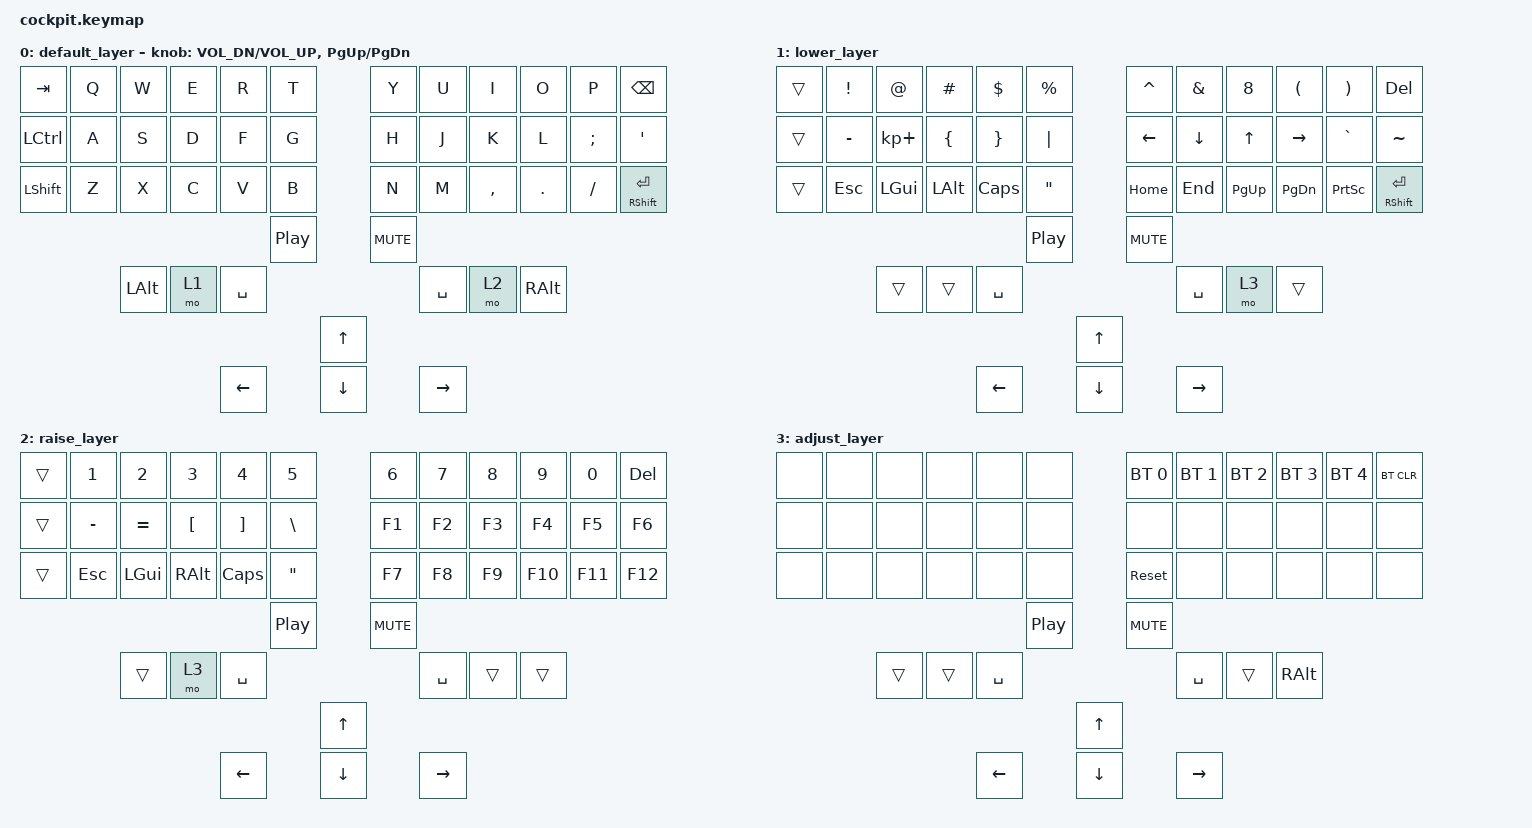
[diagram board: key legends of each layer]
#include <behaviors.dtsi>
#include <dt-bindings/zmk/keys.h>
#include <dt-bindings/zmk/bt.h>
// #include <dt-bindings/zmk/rgb.h>


&left_encoder {
    status = "okay";
};

&right_encoder {
    status = "okay";
};


/ {
        keymap {
                compatible = "zmk,keymap";

                default_layer {


// BASE
// ╭──────┬──────┬──────┬──────┬──────┬──────╮                   ╭──────┬──────┬──────┬──────┬──────┬──────╮
// │  TAB │  Q   │  W   │  E   │  R   │  T   │                   │  Y   │  U   │  I   │  O   │   P  │ BSPC │
// ├──────┼──────┼──────┼──────┼──────┼──────┤                   ├──────┼──────┼──────┼──────┼──────┼──────┤
// │ CTRL │  A   │  S   │  D   │  F   │  G   │                   │  H   │  J   │  K   │  L   │   ;  │   '  │
// ├──────┼──────┼──────┼──────┼──────┼──────┤                   ├──────┼──────┼──────┼──────┼──────┼──────┤
// │ LSFT │  Z   │  X   │    C │  V   │  B   │                   │  N   │  M   │  ,   │    . │  /   │RS-ENT│
// ╰──────┴──────┴──────┴──────┴──────┴──────┼─────────┬─────────┼──────┴──────┴──────┴──────┴──────┴──────╯
//                                           │   MPLY  │  MUTE   │
//                     ╭──────┬──────┬───────┼─────────┴─────────┼──────┬──────┬──────╮
//                     │  ALT │LOWER │  FNL  │                   │ FNR  │RAISE │ RALT │
//                     ╰──────┴──────┴───────┴─────┬──────┬──────┴──────┴──────┴──────╯
//                                                 │  UP  │
//                                          ╭──────┼──────┼──────╮
//                                          │ LEFT │ DOWN │ RIGHT│
//                                          ╰──────┴──────┴──────╯



                        bindings = <
   &kp TAB   &kp Q &kp W &kp E &kp R &kp T             &kp Y &kp U  &kp I     &kp O   &kp P    &kp BSPC
   &kp LCTRL &kp A &kp S &kp D &kp F &kp G             &kp H &kp J  &kp K     &kp L   &kp SEMI &kp SQT
   &kp LSHFT &kp Z &kp X &kp C &kp V &kp B             &kp N &kp M  &kp COMMA &kp DOT &kp FSLH &mt RSHFT RET
                                     &kp C_PLAY_PAUSE  &kp C_MUTE
                    &kp LALT  &mo 1 &kp SPACE              &kp SPACE &mo 2  &kp RALT
                                               &kp UP_ARROW
                               &kp LEFT_ARROW  &kp DOWN_ARROW  &kp RIGHT_ARROW

                        >;
                        sensor-bindings = <&inc_dec_kp C_VOL_DN C_VOL_UP &inc_dec_kp PG_UP PG_DN>;
                };

                lower_layer {

// LOWER
// ╭──────┬──────┬──────┬──────┬──────┬──────╮                   ╭──────┬──────┬──────┬──────┬──────┬──────╮
// │  TAB │      │      │      │      │      │                   │      │      │      │      │      │ BSPC │
// ├──────┼──────┼──────┼──────┼──────┼──────┤                   ├──────┼──────┼──────┼──────┼──────┼──────┤
// │ CTRL │      │      │      │      │      │                   │      │      │      │      │      │   '  │
// ├──────┼──────┼──────┼──────┼──────┼──────┤                   ├──────┼──────┼──────┼──────┼──────┼──────┤
// │  SFT │      │      │      │      │      │                   │      │      │      │      │      │ ENT  │
// ╰──────┴──────┴──────┴──────┴──────┴──────┼─────────┬─────────┼──────┴──────┴──────┴──────┴──────┴──────╯
//                                           │   MPLY  │  MUTE   │
//                     ╭──────┬──────┬───────┼─────────┴─────────┼──────┬──────┬──────╮
//                     │  ALT │LOWER │  FNL  │                   │ FNR  │RAISE │  WIN │
//                     ╰──────┴──────┴───────┴─────┬──────┬──────┴──────┴──────┴──────╯
//                                                 │  UP  │
//                                          ╭──────┼──────┼──────╮
//                                          │ LEFT │ DOWN │ RIGHT│
//                                          ╰──────┴──────┴──────╯


                        bindings = <
   &trans &kp EXCL  &kp AT      &kp HASH &kp DLLR &kp PRCNT           &kp CARET &kp AMPS &kp N8    &kp LPAR  &kp RPAR  &kp DEL
   &trans &kp MINUS &kp KP_PLUS &kp LBRC &kp RBRC &kp PIPE            &kp LEFT  &kp DOWN &kp UP    &kp RIGHT &kp GRAVE &kp TILDE
   &trans &kp ESC   &kp LGUI    &kp LALT &kp CLCK &kp DQT             &kp HOME  &kp END  &kp PG_UP &kp PG_DN &kp PSCRN &mt RSHFT RET
                                                &kp C_PLAY_PAUSE  &kp C_MUTE
                           &trans  &trans &kp SPACE              &kp SPACE &mo 3  &trans
                                                      &kp UP_ARROW
                                      &kp LEFT_ARROW  &kp DOWN_ARROW  &kp RIGHT_ARROW
                        >;
                };

                raise_layer {

// ╭──────┬──────┬──────┬──────┬──────┬──────╮                   ╭──────┬──────┬──────┬──────┬──────┬──────╮
// │  TAB │      │      │      │      │      │                   │      │      │      │      │      │ BSPC │
// ├──────┼──────┼──────┼──────┼──────┼──────┤                   ├──────┼──────┼──────┼──────┼──────┼──────┤
// │ CTRL │      │      │      │      │      │                   │      │      │      │      │      │   '  │
// ├──────┼──────┼──────┼──────┼──────┼──────┤                   ├──────┼──────┼──────┼──────┼──────┼──────┤
// │  SFT │      │      │      │      │      │                   │      │      │      │      │      │ ENT  │
// ╰──────┴──────┴──────┴──────┴──────┴──────┼─────────┬─────────┼──────┴──────┴──────┴──────┴──────┴──────╯
//                                           │   MPLY  │  MUTE   │
//                     ╭──────┬──────┬───────┼─────────┴─────────┼──────┬──────┬──────╮
//                     │  ALT │LOWER │  FNL  │                   │ FNR  │RAISE │  WIN │
//                     ╰──────┴──────┴───────┴─────┬──────┬──────┴──────┴──────┴──────╯
//                                                 │  UP  │
//                                          ╭──────┼──────┼──────╮
//                                          │ LEFT │ DOWN │ RIGHT│
//                                          ╰──────┴──────┴──────╯


                        bindings = <
   &trans &kp N1    &kp N2    &kp N3    &kp N4    &kp N5        &kp N6    &kp N7    &kp N8    &kp N9    &kp N0    &kp DEL
   &trans &kp MINUS &kp EQUAL &kp LBKT  &kp RBKT  &kp BSLH      &kp F1    &kp F2    &kp F3    &kp F4    &kp F5    &kp F6
   &trans &kp ESC   &kp LGUI  &kp RALT  &kp CLCK  &kp DQT       &kp F7    &kp F8    &kp F9    &kp F10   &kp F11   &kp F12
                                            &kp C_PLAY_PAUSE  &kp C_MUTE
                           &trans  &mo 3 &kp SPACE              &kp SPACE  &trans   &trans
                                                      &kp UP_ARROW
                                      &kp LEFT_ARROW  &kp DOWN_ARROW  &kp RIGHT_ARROW
                        >;
                };

                adjust_layer {
// ADJUST
// ╭──────┬──────┬──────┬──────┬──────┬──────╮                   ╭──────┬──────┬──────┬──────┬──────┬──────╮
// │  TAB │      │      │      │      │      │                   │      │      │      │      │      │ BSPC │
// ├──────┼──────┼──────┼──────┼──────┼──────┤                   ├──────┼──────┼──────┼──────┼──────┼──────┤
// │ CTRL │      │      │      │      │      │                   │      │      │      │      │      │   '  │
// ├──────┼──────┼──────┼──────┼──────┼──────┤                   ├──────┼──────┼──────┼──────┼──────┼──────┤
// │  SFT │      │      │      │      │      │                   │      │      │      │      │      │ ENT  │
// ╰──────┴──────┴──────┴──────┴──────┴──────┼─────────┬─────────┼──────┴──────┴──────┴──────┴──────┴──────╯
//                                           │   MPLY  │  MUTE   │
//                     ╭──────┬──────┬───────┼─────────┴─────────┼──────┬──────┬──────╮
//                     │  ALT │LOWER │  FNL  │                   │ FNR  │RAISE │  WIN │
//                     ╰──────┴──────┴───────┴─────┬──────┬──────┴──────┴──────┴──────╯
//                                                 │  UP  │
//                                          ╭──────┼──────┼──────╮
//                                          │ LEFT │ DOWN │ RIGHT│
//                                          ╰──────┴──────┴──────╯

                        bindings = <
   &none &none &none &none &none &none    &bt BT_SEL 0 &bt BT_SEL 1 &bt BT_SEL 2 &bt BT_SEL 3 &bt BT_SEL 4 &bt BT_CLR
   &none &none &none &none &none &none     &none        &none        &none        &none        &none        &none
   &none &none &none &none &none &none     &sys_reset   &none        &none        &none        &none        &none
                                     &kp C_PLAY_PAUSE  &kp C_MUTE
                &trans    &trans  &kp SPACE              &kp SPACE &trans  &kp RALT
                                          &kp UP_ARROW
                         &kp LEFT_ARROW  &kp DOWN_ARROW  &kp RIGHT_ARROW


                        >;
                };
        };
};
